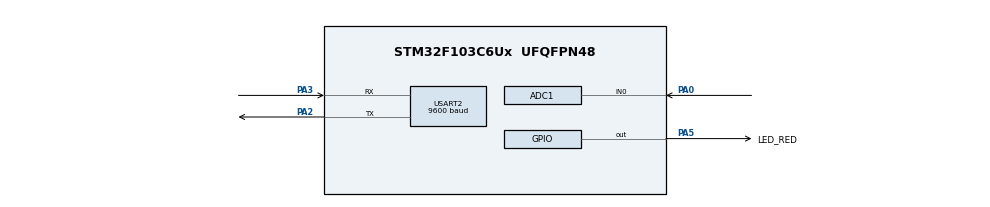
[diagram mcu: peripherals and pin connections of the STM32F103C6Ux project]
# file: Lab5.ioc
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ADC1.Channel-0\#ChannelRegularConversion=ADC_CHANNEL_0
ADC1.ContinuousConvMode=ENABLE
ADC1.NbrOfConversionFlag=1
ADC1.Rank-0\#ChannelRegularConversion=1
ADC1.SamplingTime-0\#ChannelRegularConversion=ADC_SAMPLETIME_1CYCLE_5
ADC1.master=1
Mcu.Family=STM32F1
Mcu.Name=STM32F103C6Ux
Mcu.Package=UFQFPN48
NVIC.PriorityGroup=NVIC_PRIORITYGROUP_4
NVIC.TIM2_IRQn=true\:0\:0\:false\:false\:true\:true\:true
NVIC.USART2_IRQn=true\:0\:0\:false\:false\:true\:true\:true
PA0-WKUP.Signal=ADCx_IN0
PA2.Mode=Asynchronous
PA2.Signal=USART2_TX
PA3.Mode=Asynchronous
PA3.Signal=USART2_RX
PA5.GPIO_Label=LED_RED
PA5.Signal=GPIO_Output
PA6.Signal=S_TIM3_CH1
ProjectManager.HeapSize=0x200
ProjectManager.StackSize=0x400
ProjectManager.TargetToolchain=STM32CubeIDE
RCC.APB1Freq_Value=8000000
RCC.APB2Freq_Value=8000000
SH.ADCx_IN0.0=ADC1_IN0,IN0
SH.S_TIM3_CH1.0=TIM3_CH1
TIM2.Period=10
TIM2.Prescaler=7999
USART2.BaudRate=9600
USART2.VirtualMode=VM_ASYNC
VP_SYS_VS_ND.Mode=No_Debug
VP_TIM2_VS_ClockSourceINT.Mode=Internal
board=custom

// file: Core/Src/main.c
/* USER CODE BEGIN Header */
/**
  ******************************************************************************
  * @file           : main.c
  * @brief          : Main program body
  ******************************************************************************
  * @attention
  *
  * <h2><center>&copy; Copyright (c) 2022 STMicroelectronics.s
  * All rights reserved.</center></h2>
  *
  * This software component is licensed by ST under BSD 3-Clause license,
  * the "License"; You may not use this file except in compliance with the
  * License. You may obtain a copy of the License at:
  *                        opensource.org/licenses/BSD-3-Clause
  *
  ******************************************************************************
  */
/* USER CODE END Header */
#include "main.h"

/* USER CODE BEGIN Includes */
#include "uart_fsm.h"
#include "timer.h"
#include "command_fsm.h"
/* USER CODE END Includes */

ADC_HandleTypeDef hadc1;

TIM_HandleTypeDef htim2;

UART_HandleTypeDef huart2;

void SystemClock_Config(void);
static void MX_GPIO_Init(void);
static void MX_ADC1_Init(void);
static void MX_USART2_UART_Init(void);
static void MX_TIM2_Init(void);

int main(void)
{

  /* MCU Configuration--------------------------------------------------------*/

  /* Reset of all peripherals, Initializes the Flash interface and the Systick. */
  HAL_Init();

  /* Configure the system clock */
  SystemClock_Config();

  /* Initialize all configured peripherals */
  MX_GPIO_Init();
  MX_ADC1_Init();
  MX_USART2_UART_Init();
  MX_TIM2_Init();
  /* USER CODE BEGIN 2 */
  HAL_TIM_Base_Start_IT(&htim2);
  HAL_UART_Receive_IT(&huart2,&temp,1);
  setTimer0(10);
  /* USER CODE END 2 */

  /* Infinite loop */
  /* USER CODE BEGIN WHILE */
  while (1)
  {
	  if(timer0_flag==1){
	  			  HAL_GPIO_TogglePin(LED_RED_GPIO_Port, LED_RED_Pin);
	  			  setTimer0(1000);
	  		  }
	  	  if(buffer_flag == 1) {
	  		command_parser_fsm() ;
	  	 		  buffer_flag = 0;
	  	  }
	  	uart_communiation_fsm();
    /* USER CODE END WHILE */

  }
}

void SystemClock_Config(void)
{
  RCC_OscInitTypeDef RCC_OscInitStruct = {0};
  RCC_ClkInitTypeDef RCC_ClkInitStruct = {0};
  RCC_PeriphCLKInitTypeDef PeriphClkInit = {0};

  /** Initializes the RCC Oscillators according to the specified parameters
  * in the RCC_OscInitTypeDef structure.
  */
  RCC_OscInitStruct.OscillatorType = RCC_OSCILLATORTYPE_HSI;
  RCC_OscInitStruct.HSIState = RCC_HSI_ON;
  RCC_OscInitStruct.HSICalibrationValue = RCC_HSICALIBRATION_DEFAULT;
  RCC_OscInitStruct.PLL.PLLState = RCC_PLL_NONE;
  if (HAL_RCC_OscConfig(&RCC_OscInitStruct) != HAL_OK)
  {
    Error_Handler();
  }
  /** Initializes the CPU, AHB and APB buses clocks
  */
  RCC_ClkInitStruct.ClockType = RCC_CLOCKTYPE_HCLK|RCC_CLOCKTYPE_SYSCLK
                              |RCC_CLOCKTYPE_PCLK1|RCC_CLOCKTYPE_PCLK2;
  RCC_ClkInitStruct.SYSCLKSource = RCC_SYSCLKSOURCE_HSI;
  RCC_ClkInitStruct.AHBCLKDivider = RCC_SYSCLK_DIV1;
  RCC_ClkInitStruct.APB1CLKDivider = RCC_HCLK_DIV1;
  RCC_ClkInitStruct.APB2CLKDivider = RCC_HCLK_DIV1;

  if (HAL_RCC_ClockConfig(&RCC_ClkInitStruct, FLASH_LATENCY_0) != HAL_OK)
  {
    Error_Handler();
  }
  PeriphClkInit.PeriphClockSelection = RCC_PERIPHCLK_ADC;
  PeriphClkInit.AdcClockSelection = RCC_ADCPCLK2_DIV2;
  if (HAL_RCCEx_PeriphCLKConfig(&PeriphClkInit) != HAL_OK)
  {
    Error_Handler();
  }
}

static void MX_ADC1_Init(void)
{

  ADC_ChannelConfTypeDef sConfig = {0};

  /** Common config
  */
  hadc1.Instance = ADC1;
  hadc1.Init.ScanConvMode = ADC_SCAN_DISABLE;
  hadc1.Init.ContinuousConvMode = ENABLE;
  hadc1.Init.DiscontinuousConvMode = DISABLE;
  hadc1.Init.ExternalTrigConv = ADC_SOFTWARE_START;
  hadc1.Init.DataAlign = ADC_DATAALIGN_RIGHT;
  hadc1.Init.NbrOfConversion = 1;
  if (HAL_ADC_Init(&hadc1) != HAL_OK)
  {
    Error_Handler();
  }
  /** Configure Regular Channel
  */
  sConfig.Channel = ADC_CHANNEL_0;
  sConfig.Rank = ADC_REGULAR_RANK_1;
  sConfig.SamplingTime = ADC_SAMPLETIME_1CYCLE_5;
  if (HAL_ADC_ConfigChannel(&hadc1, &sConfig) != HAL_OK)
  {
    Error_Handler();
  }

}

static void MX_TIM2_Init(void)
{

  TIM_ClockConfigTypeDef sClockSourceConfig = {0};
  TIM_MasterConfigTypeDef sMasterConfig = {0};

  htim2.Instance = TIM2;
  htim2.Init.Prescaler = 7999;
  htim2.Init.CounterMode = TIM_COUNTERMODE_UP;
  htim2.Init.Period = 10;
  htim2.Init.ClockDivision = TIM_CLOCKDIVISION_DIV1;
  htim2.Init.AutoReloadPreload = TIM_AUTORELOAD_PRELOAD_DISABLE;
  if (HAL_TIM_Base_Init(&htim2) != HAL_OK)
  {
    Error_Handler();
  }
  sClockSourceConfig.ClockSource = TIM_CLOCKSOURCE_INTERNAL;
  if (HAL_TIM_ConfigClockSource(&htim2, &sClockSourceConfig) != HAL_OK)
  {
    Error_Handler();
  }
  sMasterConfig.MasterOutputTrigger = TIM_TRGO_RESET;
  sMasterConfig.MasterSlaveMode = TIM_MASTERSLAVEMODE_DISABLE;
  if (HAL_TIMEx_MasterConfigSynchronization(&htim2, &sMasterConfig) != HAL_OK)
  {
    Error_Handler();
  }

}

static void MX_USART2_UART_Init(void)
{

  huart2.Instance = USART2;
  huart2.Init.BaudRate = 9600;
  huart2.Init.WordLength = UART_WORDLENGTH_8B;
  huart2.Init.StopBits = UART_STOPBITS_1;
  huart2.Init.Parity = UART_PARITY_NONE;
  huart2.Init.Mode = UART_MODE_TX_RX;
  huart2.Init.HwFlowCtl = UART_HWCONTROL_NONE;
  huart2.Init.OverSampling = UART_OVERSAMPLING_16;
  if (HAL_UART_Init(&huart2) != HAL_OK)
  {
    Error_Handler();
  }

}

static void MX_GPIO_Init(void)
{
  GPIO_InitTypeDef GPIO_InitStruct = {0};

  /* GPIO Ports Clock Enable */
  __HAL_RCC_GPIOA_CLK_ENABLE();

  /*Configure GPIO pin Output Level */
  HAL_GPIO_WritePin(LED_RED_GPIO_Port, LED_RED_Pin, GPIO_PIN_RESET);

  /*Configure GPIO pin : LED_RED_Pin */
  GPIO_InitStruct.Pin = LED_RED_Pin;
  GPIO_InitStruct.Mode = GPIO_MODE_OUTPUT_PP;
  GPIO_InitStruct.Pull = GPIO_NOPULL;
  GPIO_InitStruct.Speed = GPIO_SPEED_FREQ_LOW;
  HAL_GPIO_Init(LED_RED_GPIO_Port, &GPIO_InitStruct);

  /*Configure GPIO pin : PA6 */
  GPIO_InitStruct.Pin = GPIO_PIN_6;
  GPIO_InitStruct.Mode = GPIO_MODE_AF_PP;
  GPIO_InitStruct.Speed = GPIO_SPEED_FREQ_LOW;
  HAL_GPIO_Init(GPIOA, &GPIO_InitStruct);

}

/* USER CODE BEGIN 4 */
void HAL_TIM_PeriodElapsedCallback(TIM_HandleTypeDef* htim ) {
		timer_run();
		timer_run1();
}
/* USER CODE END 4 */

void Error_Handler(void)
{
  __disable_irq();
  while (1)
  {
  }
}

/************************ (C) COPYRIGHT STMicroelectronics *****END OF FILE****/
